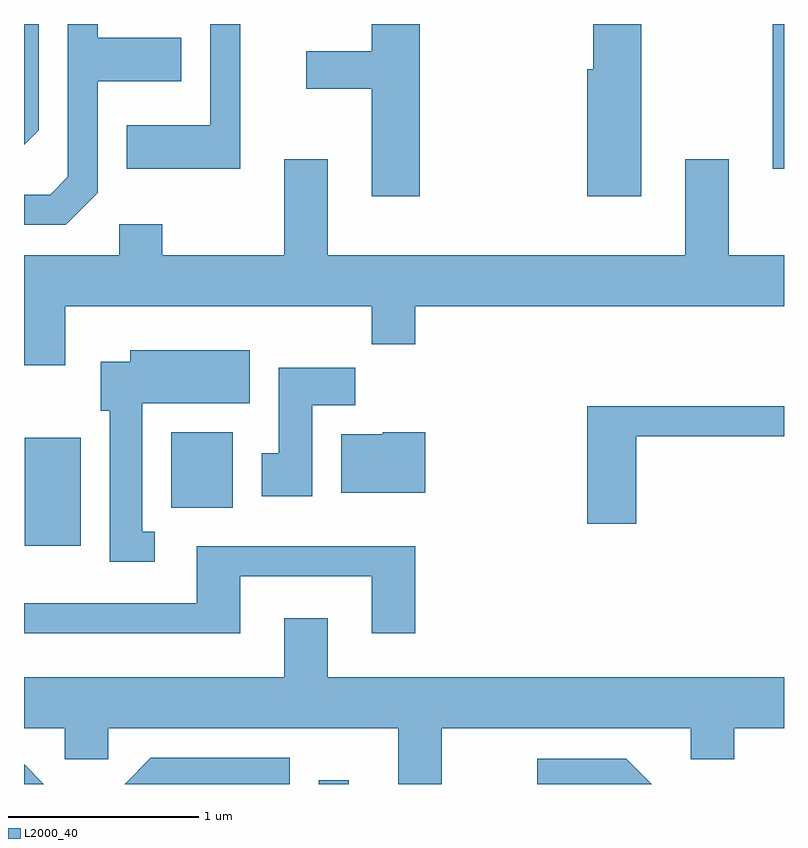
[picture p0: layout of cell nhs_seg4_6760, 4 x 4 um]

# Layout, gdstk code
import gdstk
lib = gdstk.Library(unit=1e-6, precision=1e-09)
def R(c, l, rs):  # rectangles x0, y0, x1, y1
    for r in rs: c.add(gdstk.rectangle(r[:2], r[2:], *l))
def P(c, l, *ps):  # polygons
    for p in ps: c.add(gdstk.Polygon(p, *l))
L2000_40 = (2000, 40)

nhs_seg4_6760 = lib.new_cell('nhs_seg4_6760')
R(nhs_seg4_6760, L2000_40, [(385.161,1309.982,385.319,1310.003), (383.616,1311.236,383.909,1311.804), (384.386,1311.436,384.709,1311.834), (387.551,1313.221,387.611,1313.982)])
P(nhs_seg4_6760, L2000_40, [(383.999,1313.094),(383.999,1313.681),(384.439,1313.681),(384.439,1313.909),(383.999,1313.909),(383.999,1313.982),(383.841,1313.982),(383.841,1313.177),(383.749,1313.084),(383.611,1313.084),(383.611,1312.926),(383.832,1312.926)],
  [(383.689,1313.424),(383.689,1313.982),(383.611,1313.982),(383.611,1313.346)],
  [(384.749,1313.982),(384.591,1313.982),(384.591,1313.449),(384.151,1313.449),(384.151,1313.221),(384.749,1313.221)],
  [(385.694,1313.982),(385.441,1313.982),(385.441,1313.839),(385.096,1313.839),(385.096,1313.641),(385.441,1313.641),(385.441,1313.076),(385.694,1313.076)],
  [(386.859,1313.982),(386.606,1313.982),(386.606,1313.744),(386.576,1313.744),(386.576,1313.076),(386.859,1313.076)],
  [(383.829,1312.496),(385.441,1312.496),(385.441,1312.296),(385.669,1312.296),(385.669,1312.496),(387.611,1312.496),(387.611,1312.764),(387.319,1312.764),(387.319,1313.269),(387.091,1313.269),(387.091,1312.764),(385.209,1312.764),(385.209,1313.269),(384.981,1313.269),(384.981,1312.764),(384.339,1312.764),(384.339,1312.929),(384.111,1312.929),(384.111,1312.764),(383.611,1312.764),(383.611,1312.186),(383.829,1312.186)],
  [(384.298,1311.309),(384.234,1311.309),(384.234,1311.986),(384.799,1311.986),(384.799,1312.264),(384.171,1312.264),(384.171,1312.204),(384.016,1312.204),(384.016,1311.946),(384.061,1311.946),(384.061,1311.151),(384.298,1311.151)],
  [(385.129,1311.976),(385.354,1311.976),(385.354,1312.174),(384.951,1312.174),(384.951,1311.724),(384.861,1311.724),(384.861,1311.496),(385.129,1311.496)],
  [(386.834,1311.811),(387.611,1311.811),(387.611,1311.969),(386.576,1311.969),(386.576,1311.351),(386.834,1311.351)],
  [(385.724,1311.834),(385.5,1311.834),(385.5,1311.824),(385.281,1311.824),(385.281,1311.516),(385.724,1311.516)],
  [(384.749,1311.076),(385.441,1311.076),(385.441,1310.776),(385.669,1310.776),(385.669,1311.234),(384.521,1311.234),(384.521,1310.934),(383.611,1310.934),(383.611,1310.776),(384.749,1310.776)],
  [(385.809,1310.276),(387.121,1310.276),(387.121,1310.111),(387.349,1310.111),(387.349,1310.276),(387.611,1310.276),(387.611,1310.544),(385.209,1310.544),(385.209,1310.854),(384.981,1310.854),(384.981,1310.544),(383.611,1310.544),(383.611,1310.276),(383.826,1310.276),(383.826,1310.111),(384.054,1310.111),(384.054,1310.276),(385.581,1310.276),(385.581,1309.982),(385.809,1309.982)],
  [(385.009,1310.119),(384.279,1310.119),(384.142,1309.982),(385.009,1309.982)],
  [(386.782,1310.114),(386.313,1310.114),(386.313,1309.982),(386.914,1309.982)],
  [(383.611,1310.085),(383.611,1309.982),(383.714,1309.982)])

lib.write_gds('nhs_seg4_6760.gds')
